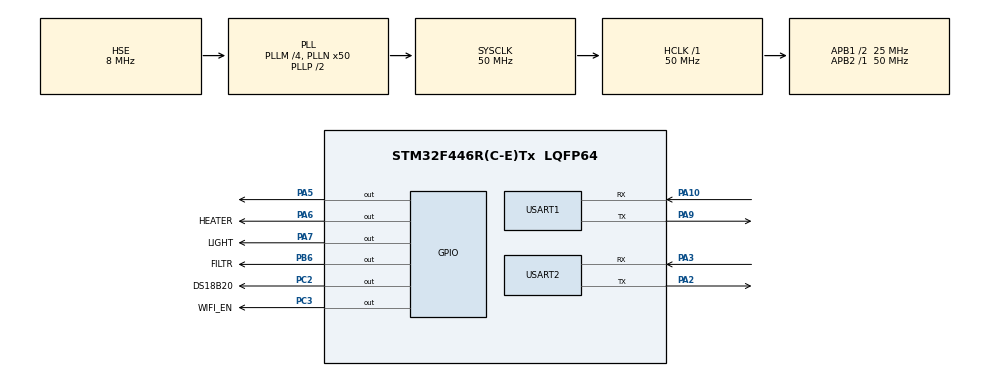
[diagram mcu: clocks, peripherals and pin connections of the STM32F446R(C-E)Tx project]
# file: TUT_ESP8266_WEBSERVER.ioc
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Mcu.Family=STM32F4
Mcu.Name=STM32F446R(C-E)Tx
Mcu.Package=LQFP64
NVIC.PriorityGroup=NVIC_PRIORITYGROUP_4
NVIC.TIM3_IRQn=true\:0\:0\:false\:false\:true\:true\:true
NVIC.USART1_IRQn=true\:0\:0\:false\:false\:true\:true\:true
NVIC.USART2_IRQn=true\:0\:0\:false\:false\:true\:true\:true
PA10.Mode=Asynchronous
PA10.Signal=USART1_RX
PA2.Mode=Asynchronous
PA2.Signal=USART2_TX
PA3.Mode=Asynchronous
PA3.Signal=USART2_RX
PA5.Signal=GPIO_Output
PA6.GPIO_Label=HEATER
PA6.Signal=GPIO_Output
PA7.GPIO_Label=LIGHT
PA7.Signal=GPIO_Output
PA9.Mode=Asynchronous
PA9.Signal=USART1_TX
PB6.GPIO_Label=FILTR
PB6.Signal=GPIO_Output
PC2.GPIO_Label=DS18B20
PC2.Signal=GPIO_Output
PC3.GPIO_Label=WIFI_EN
PC3.GPIO_PuPd=GPIO_PULLUP
PC3.PinState=GPIO_PIN_SET
PC3.Signal=GPIO_Output
PH0-OSC_IN.Mode=HSE-External-Oscillator
PH0-OSC_IN.Signal=RCC_OSC_IN
PH1-OSC_OUT.Mode=HSE-External-Oscillator
PH1-OSC_OUT.Signal=RCC_OSC_OUT
ProjectManager.HeapSize=0x200
ProjectManager.StackSize=0x400
ProjectManager.TargetToolchain=STM32CubeIDE
RCC.AHBFreq_Value=50000000
RCC.APB1CLKDivider=RCC_HCLK_DIV2
RCC.APB1Freq_Value=25000000
RCC.APB1TimFreq_Value=50000000
RCC.APB2Freq_Value=50000000
RCC.APB2TimFreq_Value=50000000
RCC.CortexFreq_Value=50000000
RCC.HCLKFreq_Value=50000000
RCC.HSE_VALUE=8000000
RCC.PLLM=4
RCC.PLLN=50
RCC.PLLSourceVirtual=RCC_PLLSOURCE_HSE
RCC.SYSCLKFreq_VALUE=50000000
RCC.SYSCLKSource=RCC_SYSCLKSOURCE_PLLCLK
RCC.USBFreq_Value=50000000
RCC.VCOOutputFreq_Value=100000000
TIM2.Prescaler=25-1
TIM3.Period=1000-1
TIM3.Prescaler=25000-1
USART1.VirtualMode=VM_ASYNC
USART2.VirtualMode=VM_ASYNC
VP_TIM2_VS_ClockSourceINT.Mode=Internal
VP_TIM3_VS_ClockSourceINT.Mode=Internal
board=custom

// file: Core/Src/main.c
/* USER CODE BEGIN Header */
/**
  ******************************************************************************
  * @file           : main.c
  * @brief          : Main program body
  ******************************************************************************
  * @attention
  *
  * <h2><center>&copy; Copyright (c) 2020 STMicroelectronics.
  * All rights reserved.</center></h2>
  *
  * This software component is licensed by ST under BSD 3-Clause license,
  * the "License"; You may not use this file except in compliance with the
  * License. You may obtain a copy of the License at:
  *                        opensource.org/licenses/BSD-3-Clause
  *
  ******************************************************************************
  */
/* USER CODE END Header */
#include "main.h"

/* USER CODE BEGIN Includes */

#include "ESP8266_HAL.h"
#include "ds18b20.h"
/* USER CODE END Includes */

/* USER CODE BEGIN PTD */
uint8_t old_temperature = 0;
/* USER CODE END PTD */

/* USER CODE BEGIN PD */
#define LOW_TEMP_LEVEL 23
#define HIGH_TEMP_LEVEL 25
/* USER CODE END PD */

TIM_HandleTypeDef htim3;

UART_HandleTypeDef huart1;
UART_HandleTypeDef huart2;

void SystemClock_Config(void);
static void MX_GPIO_Init(void);
static void MX_USART1_UART_Init(void);
static void MX_USART2_UART_Init(void);
static void MX_TIM2_Init(void);
static void MX_TIM3_Init(void);

int main(void)
{

  /* MCU Configuration--------------------------------------------------------*/

  /* Reset of all peripherals, Initializes the Flash interface and the Systick. */
  HAL_Init();

  /* Configure the system clock */
  SystemClock_Config();

  /* Initialize all configured peripherals */
  MX_GPIO_Init();
  MX_USART1_UART_Init();
  MX_USART2_UART_Init();
  MX_TIM2_Init();
  MX_TIM3_Init();
  /* USER CODE BEGIN 2 */

  HAL_TIM_Base_Start_IT(&htim2);

  DS18B20_Init(DS18B20_Resolution_9bits);
  ESP_Init("UPC0046582","EWCWSOOW");
  HAL_TIM_Base_Start_IT(&htim3);

  HAL_NVIC_EnableIRQ(TIM3_IRQn);

  /* USER CODE END 2 */

  /* Infinite loop */
  while (1)
  {

    /* USER CODE BEGIN 3 */

	     /* USER CODE END WHILE */

	     /* USER CODE BEGIN 3 */

	 Server_Start();

  }
  /* USER CODE END 3 */
}

void SystemClock_Config(void)
{
  RCC_OscInitTypeDef RCC_OscInitStruct = {0};
  RCC_ClkInitTypeDef RCC_ClkInitStruct = {0};

  /** Configure the main internal regulator output voltage
  */
  __HAL_RCC_PWR_CLK_ENABLE();
  __HAL_PWR_VOLTAGESCALING_CONFIG(PWR_REGULATOR_VOLTAGE_SCALE3);
  /** Initializes the RCC Oscillators according to the specified parameters
  * in the RCC_OscInitTypeDef structure.
  */
  RCC_OscInitStruct.OscillatorType = RCC_OSCILLATORTYPE_HSE;
  RCC_OscInitStruct.HSEState = RCC_HSE_ON;
  RCC_OscInitStruct.PLL.PLLState = RCC_PLL_ON;
  RCC_OscInitStruct.PLL.PLLSource = RCC_PLLSOURCE_HSE;
  RCC_OscInitStruct.PLL.PLLM = 4;
  RCC_OscInitStruct.PLL.PLLN = 50;
  RCC_OscInitStruct.PLL.PLLP = RCC_PLLP_DIV2;
  RCC_OscInitStruct.PLL.PLLQ = 2;
  RCC_OscInitStruct.PLL.PLLR = 2;
  if (HAL_RCC_OscConfig(&RCC_OscInitStruct) != HAL_OK)
  {
    Error_Handler();
  }
  /** Initializes the CPU, AHB and APB buses clocks
  */
  RCC_ClkInitStruct.ClockType = RCC_CLOCKTYPE_HCLK|RCC_CLOCKTYPE_SYSCLK
                              |RCC_CLOCKTYPE_PCLK1|RCC_CLOCKTYPE_PCLK2;
  RCC_ClkInitStruct.SYSCLKSource = RCC_SYSCLKSOURCE_PLLCLK;
  RCC_ClkInitStruct.AHBCLKDivider = RCC_SYSCLK_DIV1;
  RCC_ClkInitStruct.APB1CLKDivider = RCC_HCLK_DIV2;
  RCC_ClkInitStruct.APB2CLKDivider = RCC_HCLK_DIV1;

  if (HAL_RCC_ClockConfig(&RCC_ClkInitStruct, FLASH_LATENCY_1) != HAL_OK)
  {
    Error_Handler();
  }
}

static void MX_TIM2_Init(void)
{

  TIM_ClockConfigTypeDef sClockSourceConfig = {0};
  TIM_MasterConfigTypeDef sMasterConfig = {0};

  htim2.Instance = TIM2;
  htim2.Init.Prescaler = 25-1;
  htim2.Init.CounterMode = TIM_COUNTERMODE_UP;
  htim2.Init.Period = 4294967295;
  htim2.Init.ClockDivision = TIM_CLOCKDIVISION_DIV1;
  htim2.Init.AutoReloadPreload = TIM_AUTORELOAD_PRELOAD_DISABLE;
  if (HAL_TIM_Base_Init(&htim2) != HAL_OK)
  {
    Error_Handler();
  }
  sClockSourceConfig.ClockSource = TIM_CLOCKSOURCE_INTERNAL;
  if (HAL_TIM_ConfigClockSource(&htim2, &sClockSourceConfig) != HAL_OK)
  {
    Error_Handler();
  }
  sMasterConfig.MasterOutputTrigger = TIM_TRGO_RESET;
  sMasterConfig.MasterSlaveMode = TIM_MASTERSLAVEMODE_DISABLE;
  if (HAL_TIMEx_MasterConfigSynchronization(&htim2, &sMasterConfig) != HAL_OK)
  {
    Error_Handler();
  }

}

static void MX_TIM3_Init(void)
{

  TIM_ClockConfigTypeDef sClockSourceConfig = {0};
  TIM_MasterConfigTypeDef sMasterConfig = {0};

  htim3.Instance = TIM3;
  htim3.Init.Prescaler = 25000-1;
  htim3.Init.CounterMode = TIM_COUNTERMODE_UP;
  htim3.Init.Period = 5000-1;
  htim3.Init.ClockDivision = TIM_CLOCKDIVISION_DIV1;
  htim3.Init.AutoReloadPreload = TIM_AUTORELOAD_PRELOAD_DISABLE;
  if (HAL_TIM_Base_Init(&htim3) != HAL_OK)
  {
    Error_Handler();
  }
  sClockSourceConfig.ClockSource = TIM_CLOCKSOURCE_INTERNAL;
  if (HAL_TIM_ConfigClockSource(&htim3, &sClockSourceConfig) != HAL_OK)
  {
    Error_Handler();
  }
  sMasterConfig.MasterOutputTrigger = TIM_TRGO_RESET;
  sMasterConfig.MasterSlaveMode = TIM_MASTERSLAVEMODE_DISABLE;
  if (HAL_TIMEx_MasterConfigSynchronization(&htim3, &sMasterConfig) != HAL_OK)
  {
    Error_Handler();
  }

}

static void MX_USART1_UART_Init(void)
{

  huart1.Instance = USART1;
  huart1.Init.BaudRate = 115200;
  huart1.Init.WordLength = UART_WORDLENGTH_8B;
  huart1.Init.StopBits = UART_STOPBITS_1;
  huart1.Init.Parity = UART_PARITY_NONE;
  huart1.Init.Mode = UART_MODE_TX_RX;
  huart1.Init.HwFlowCtl = UART_HWCONTROL_NONE;
  huart1.Init.OverSampling = UART_OVERSAMPLING_16;
  if (HAL_UART_Init(&huart1) != HAL_OK)
  {
    Error_Handler();
  }

}

static void MX_USART2_UART_Init(void)
{

  huart2.Instance = USART2;
  huart2.Init.BaudRate = 115200;
  huart2.Init.WordLength = UART_WORDLENGTH_8B;
  huart2.Init.StopBits = UART_STOPBITS_1;
  huart2.Init.Parity = UART_PARITY_NONE;
  huart2.Init.Mode = UART_MODE_TX_RX;
  huart2.Init.HwFlowCtl = UART_HWCONTROL_NONE;
  huart2.Init.OverSampling = UART_OVERSAMPLING_16;
  if (HAL_UART_Init(&huart2) != HAL_OK)
  {
    Error_Handler();
  }

}

static void MX_GPIO_Init(void)
{
  GPIO_InitTypeDef GPIO_InitStruct = {0};

  /* GPIO Ports Clock Enable */
  __HAL_RCC_GPIOH_CLK_ENABLE();
  __HAL_RCC_GPIOC_CLK_ENABLE();
  __HAL_RCC_GPIOA_CLK_ENABLE();
  __HAL_RCC_GPIOB_CLK_ENABLE();

  /*Configure GPIO pin Output Level */
  HAL_GPIO_WritePin(DS18B20_GPIO_Port, DS18B20_Pin, GPIO_PIN_RESET);

  /*Configure GPIO pin Output Level */
  HAL_GPIO_WritePin(WIFI_EN_GPIO_Port, WIFI_EN_Pin, GPIO_PIN_SET);

  /*Configure GPIO pin Output Level */
  HAL_GPIO_WritePin(GPIOA, GPIO_PIN_5|HEATER_Pin|LIGHT_Pin, GPIO_PIN_RESET);

  /*Configure GPIO pin Output Level */
  HAL_GPIO_WritePin(FILTR_GPIO_Port, FILTR_Pin, GPIO_PIN_RESET);

  /*Configure GPIO pin : DS18B20_Pin */
  GPIO_InitStruct.Pin = DS18B20_Pin;
  GPIO_InitStruct.Mode = GPIO_MODE_OUTPUT_PP;
  GPIO_InitStruct.Pull = GPIO_NOPULL;
  GPIO_InitStruct.Speed = GPIO_SPEED_FREQ_LOW;
  HAL_GPIO_Init(DS18B20_GPIO_Port, &GPIO_InitStruct);

  /*Configure GPIO pin : WIFI_EN_Pin */
  GPIO_InitStruct.Pin = WIFI_EN_Pin;
  GPIO_InitStruct.Mode = GPIO_MODE_OUTPUT_PP;
  GPIO_InitStruct.Pull = GPIO_PULLUP;
  GPIO_InitStruct.Speed = GPIO_SPEED_FREQ_LOW;
  HAL_GPIO_Init(WIFI_EN_GPIO_Port, &GPIO_InitStruct);

  /*Configure GPIO pins : PA5 HEATER_Pin LIGHT_Pin */
  GPIO_InitStruct.Pin = GPIO_PIN_5|HEATER_Pin|LIGHT_Pin;
  GPIO_InitStruct.Mode = GPIO_MODE_OUTPUT_PP;
  GPIO_InitStruct.Pull = GPIO_NOPULL;
  GPIO_InitStruct.Speed = GPIO_SPEED_FREQ_LOW;
  HAL_GPIO_Init(GPIOA, &GPIO_InitStruct);

  /*Configure GPIO pin : FILTR_Pin */
  GPIO_InitStruct.Pin = FILTR_Pin;
  GPIO_InitStruct.Mode = GPIO_MODE_OUTPUT_PP;
  GPIO_InitStruct.Pull = GPIO_NOPULL;
  GPIO_InitStruct.Speed = GPIO_SPEED_FREQ_LOW;
  HAL_GPIO_Init(FILTR_GPIO_Port, &GPIO_InitStruct);

}

/* USER CODE BEGIN 4 */

void HAL_TIM_PeriodElapsedCallback(TIM_HandleTypeDef *htim)
{

	uint8_t temperature = DS18B20_Read_Temperature();
if(old_temperature!=temperature)
	{
	old_temperature = temperature;
	if(temperature <LOW_TEMP_LEVEL)
		{
		HAL_GPIO_WritePin(HEATER_GPIO_Port, HEATER_Pin, 1);
		heater_state = 1;
		}
	else if(temperature >HIGH_TEMP_LEVEL)
		{
		HAL_GPIO_WritePin(HEATER_GPIO_Port, HEATER_Pin, 0);
		heater_state = 0;
		}
	else
		{
		//do nothing (histereza)
		}
	}
else
	{
	//do nothing
	}
 /*
if (HAL_GPIO_ReadPin(GPIOA, GPIO_PIN_5) == GPIO_PIN_RESET)
 HAL_GPIO_WritePin(GPIOA, GPIO_PIN_5, GPIO_PIN_SET);
 else
 HAL_GPIO_WritePin(GPIOA, GPIO_PIN_5, GPIO_PIN_RESET);
 */

}
/* USER CODE END 4 */

void Error_Handler(void)
{
}

/************************ (C) COPYRIGHT STMicroelectronics *****END OF FILE****/
